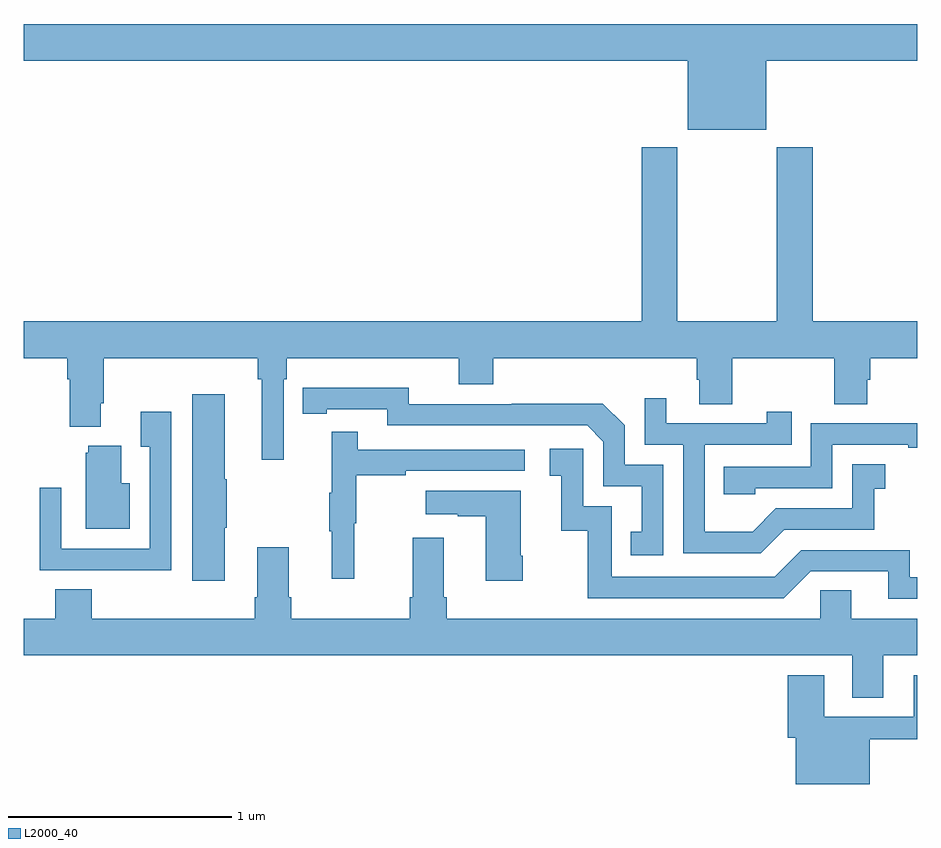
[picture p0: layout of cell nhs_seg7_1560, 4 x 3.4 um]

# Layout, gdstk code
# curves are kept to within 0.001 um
import gdstk
lib = gdstk.Library(unit=1e-6, precision=1e-09)
def P(c, l, *ps):  # polygons
    for p in ps: c.add(gdstk.Polygon(p, *l))
L2000_40 = (2000, 40)

nhs_seg7_1560 = lib.new_cell('nhs_seg7_1560')
P(nhs_seg7_1560, L2000_40, [(220.324,1043.24),(221,1043.24),(221,1043.404),(217,1043.404),(217,1043.24),(219.974,1043.24),(219.974,1042.931),(220.324,1042.931)],
  [(218.163,1041.812),(218.177,1041.812),(218.177,1041.908),(218.948,1041.908),(218.948,1041.791),(219.101,1041.791),(219.101,1041.908),(220.013,1041.908),(220.013,1041.81),(220.025,1041.81),(220.025,1041.7),(220.173,1041.7),(220.173,1041.908),(220.63,1041.908),(220.63,1041.7),(220.777,1041.7),(220.777,1041.81),(220.79,1041.81),(220.79,1041.908),(221,1041.908),(221,1042.072),(220.532,1042.072),(220.532,1042.852),(220.372,1042.852),(220.372,1042.072),(219.927,1042.072),(219.927,1042.852),(219.767,1042.852),(219.767,1042.072),(217,1042.072),(217,1041.908),(217.193,1041.908),(217.193,1041.812),(217.205,1041.812),(217.205,1041.599),(217.345,1041.599),(217.345,1041.706),(217.358,1041.706),(217.358,1041.908),(218.047,1041.908),(218.047,1041.812),(218.066,1041.812),(218.066,1041.453),(218.163,1041.453)],
  [(219.864,1041.429),(219.69,1041.429),(219.69,1041.606),(219.592,1041.704),(219.184,1041.704),(219.184,1041.702),(218.724,1041.702),(218.724,1041.775),(218.248,1041.774),(218.248,1041.658),(218.356,1041.658),(218.356,1041.678),(218.628,1041.678),(218.628,1041.606),(219.522,1041.606),(219.594,1041.534),(219.594,1041.333),(219.767,1041.333),(219.767,1041.129),(219.718,1041.129),(219.718,1041.024),(219.864,1041.024)],
  [(217.9,1041.148),(217.908,1041.148),(217.908,1041.365),(217.9,1041.365),(217.9,1041.745),(217.754,1041.745),(217.754,1040.91),(217.9,1040.91)],
  [(220.405,1041.138),(220.809,1041.138),(220.809,1041.323),(220.858,1041.323),(220.858,1041.433),(220.71,1041.433),(220.71,1041.234),(220.368,1041.234),(220.264,1041.13),(220.05,1041.13),(220.05,1041.519),(220.439,1041.519),(220.439,1041.667),(220.328,1041.667),(220.328,1041.615),(219.877,1041.615),(219.877,1041.727),(219.78,1041.727),(219.78,1041.519),(219.954,1041.519),(219.954,1041.033),(220.3,1041.033)],
  [(217.659,1041.667),(217.523,1041.667),(217.523,1041.511),(217.563,1041.511),(217.563,1041.054),(217.167,1041.054),(217.167,1041.328),(217.071,1041.328),(217.071,1040.958),(217.387,1040.958),(217.387,1040.957),(217.659,1040.957)],
  [(220.275,1041.324),(220.62,1041.324),(220.62,1041.519),(220.961,1041.519),(220.961,1041.507),(221,1041.507),(221,1041.615),(220.524,1041.615),(220.524,1041.42),(220.135,1041.42),(220.135,1041.297),(220.275,1041.297)],
  [(218.48,1041.168),(218.488,1041.168),(218.488,1041.382),(218.711,1041.382),(218.711,1041.402),(219.244,1041.402),(219.244,1041.498),(218.495,1041.498),(218.495,1041.577),(218.378,1041.577),(218.378,1041.305),(218.367,1041.305),(218.367,1041.131),(218.378,1041.131),(218.378,1040.919),(218.48,1040.919)],
  [(217.474,1041.346),(217.435,1041.346),(217.435,1041.514),(217.289,1041.514),(217.289,1041.483),(217.277,1041.483),(217.277,1041.143),(217.474,1041.143)],
  [(221,1040.925),(220.968,1040.925),(220.968,1041.048),(220.482,1041.048),(220.362,1040.928),(219.633,1040.928),(219.633,1041.243),(219.504,1041.243),(219.504,1041.502),(219.354,1041.502),(219.354,1041.381),(219.407,1041.381),(219.407,1041.135),(219.525,1041.135),(219.525,1040.832),(220.404,1040.832),(220.524,1040.952),(220.871,1040.952),(220.871,1040.829),(221,1040.829)],
  [(219.234,1041.022),(219.226,1041.022),(219.226,1041.313),(218.799,1041.313),(218.799,1041.209),(218.942,1041.209),(218.942,1041.199),(219.068,1041.199),(219.068,1040.91),(219.234,1040.91)],
  [(220.849,1040.576),(221,1040.576),(221,1040.74),(220.705,1040.74),(220.705,1040.867),(220.566,1040.867),(220.566,1040.74),(218.894,1040.74),(218.894,1040.836),(218.881,1040.836),(218.881,1041.103),(218.741,1041.103),(218.741,1040.836),(218.729,1040.836),(218.729,1040.74),(218.198,1040.74),(218.198,1040.836),(218.185,1040.836),(218.185,1041.061),(218.045,1041.061),(218.045,1040.836),(218.033,1040.836),(218.033,1040.74),(217.304,1040.74),(217.304,1040.873),(217.139,1040.873),(217.139,1040.74),(217,1040.74),(217,1040.576),(220.709,1040.576),(220.709,1040.386),(220.849,1040.386)],
  [(220.789,1040.2),(221,1040.2),(221,1040.488),(220.985,1040.488),(220.985,1040.301),(220.585,1040.301),(220.585,1040.488),(220.421,1040.488),(220.421,1040.208),(220.457,1040.208),(220.457,1040),(220.789,1040)])

lib.write_gds('nhs_seg7_1560.gds')
